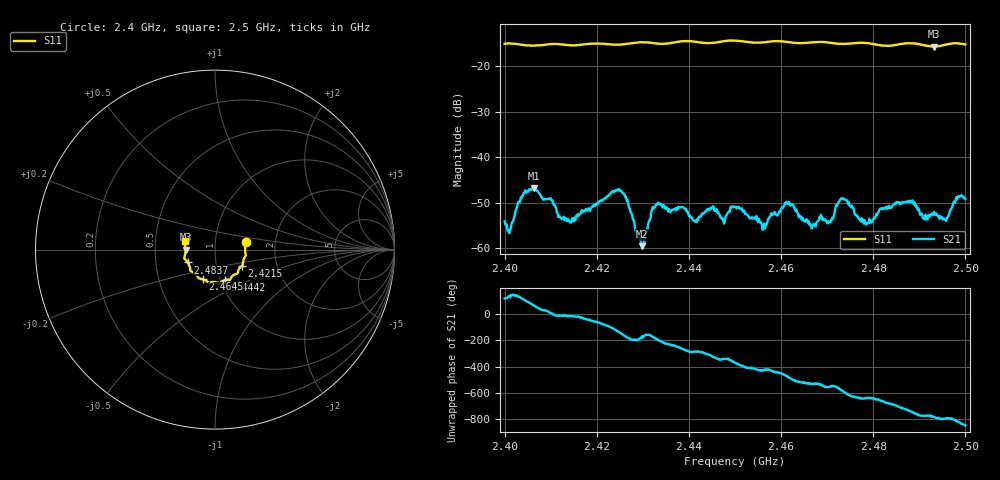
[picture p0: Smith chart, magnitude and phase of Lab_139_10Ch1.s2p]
# Hz S RI R 50
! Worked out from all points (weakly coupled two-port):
!   601 points, 2.4 GHz to 2.5 GHz, reference 50 ohm
!   highest |S21| = -46.73 dB at 2.4063 GHz (marker M1); lowest = -59.5 dB at 2.4298 GHz (marker M2)
!   lowest |S11| = -15.7 dB at 2.4932 GHz (marker M3), VSWR 1.39, Z = 35.9 - j0.0487 ohm
!   |S11| at or under -10 dB: start of sweep to end of sweep
!   S12 and S22 are empty: the file has one direction only
!   S11 on the Smith chart (normalised r, x): 2.4 GHz: 1.41, +0.12; 2.4215 GHz: 1.33, -0.25; 2.4442 GHz: 1.05, -0.37; 2.4645 GHz: 0.83, -0.29; 2.4837 GHz: 0.73, -0.11; 2.5 GHz: 0.71, +0.07
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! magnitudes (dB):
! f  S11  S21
! 2.4 GHz  -15.1  -54.0
! 2.4012 GHz  -15.0  -56.0
! 2.4063 GHz  -15.5  -46.7
! 2.4122 GHz  -15.2  -53.3
! 2.4167 GHz  -15.3  -51.8
! 2.4215 GHz  -15.1  -49.1
! 2.4258 GHz  -15.2  -48.0
! 2.4298 GHz  -14.8  -59.5
! 2.4333 GHz  -15.1  -49.9
! 2.4413 GHz  -14.7  -54.1
! 2.4442 GHz  -15.0  -51.6
! 2.45 GHz  -14.4  -50.8
! 2.4563 GHz  -14.8  -54.5
! 2.4613 GHz  -14.7  -50.2
! 2.4645 GHz  -15.0  -53.7
! 2.4667 GHz  -14.8  -55.6
! 2.4732 GHz  -15.1  -49.2
! 2.4785 GHz  -14.9  -54.8
! 2.4833 GHz  -15.6  -50.6
! 2.4837 GHz  -15.5  -50.9
! 2.4932 GHz  -15.7  -52.0
! 2.5 GHz  -15.3  -49.1
